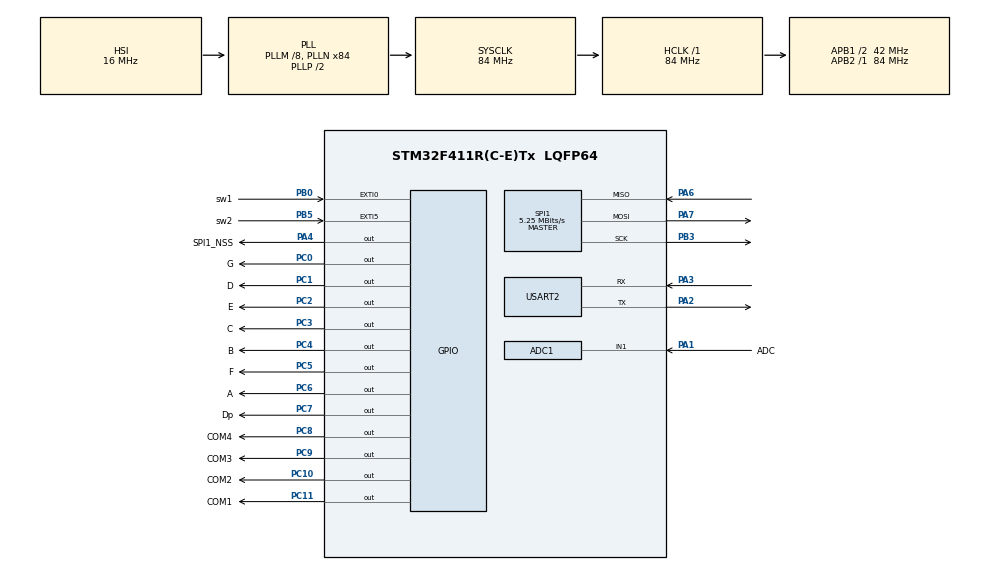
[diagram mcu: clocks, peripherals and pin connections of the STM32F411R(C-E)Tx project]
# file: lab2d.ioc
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ADC1.Channel-1\#ChannelRegularConversion=ADC_CHANNEL_1
ADC1.Channel-2\#ChannelRegularConversion=ADC_CHANNEL_TEMPSENSOR
ADC1.ClockPrescaler=ADC_CLOCK_SYNC_PCLK_DIV8
ADC1.ContinuousConvMode=DISABLE
ADC1.DMAContinuousRequests=ENABLE
ADC1.EOCSelection=ADC_EOC_SEQ_CONV
ADC1.ExternalTrigConv=ADC_EXTERNALTRIGCONV_T2_TRGO
ADC1.NbrOfConversion=2
ADC1.NbrOfConversionFlag=1
ADC1.Rank-1\#ChannelRegularConversion=1
ADC1.Rank-2\#ChannelRegularConversion=2
ADC1.SamplingTime-1\#ChannelRegularConversion=ADC_SAMPLETIME_480CYCLES
ADC1.SamplingTime-2\#ChannelRegularConversion=ADC_SAMPLETIME_480CYCLES
ADC1.master=1
Dma.ADC1.2.Direction=DMA_PERIPH_TO_MEMORY
Dma.ADC1.2.FIFOMode=DMA_FIFOMODE_DISABLE
Dma.ADC1.2.Instance=DMA2_Stream0
Dma.ADC1.2.MemDataAlignment=DMA_MDATAALIGN_HALFWORD
Dma.ADC1.2.MemInc=DMA_MINC_ENABLE
Dma.ADC1.2.Mode=DMA_CIRCULAR
Dma.ADC1.2.PeriphDataAlignment=DMA_PDATAALIGN_HALFWORD
Dma.ADC1.2.PeriphInc=DMA_PINC_DISABLE
Dma.ADC1.2.Priority=DMA_PRIORITY_LOW
Dma.Request0=USART2_TX
Dma.Request1=USART2_RX
Dma.Request2=ADC1
Dma.USART2_RX.1.Direction=DMA_PERIPH_TO_MEMORY
Dma.USART2_RX.1.FIFOMode=DMA_FIFOMODE_DISABLE
Dma.USART2_RX.1.Instance=DMA1_Stream5
Dma.USART2_RX.1.MemDataAlignment=DMA_MDATAALIGN_BYTE
Dma.USART2_RX.1.MemInc=DMA_MINC_ENABLE
Dma.USART2_RX.1.Mode=DMA_NORMAL
Dma.USART2_RX.1.PeriphDataAlignment=DMA_PDATAALIGN_BYTE
Dma.USART2_RX.1.PeriphInc=DMA_PINC_DISABLE
Dma.USART2_RX.1.Priority=DMA_PRIORITY_LOW
Dma.USART2_TX.0.Direction=DMA_MEMORY_TO_PERIPH
Dma.USART2_TX.0.FIFOMode=DMA_FIFOMODE_DISABLE
Dma.USART2_TX.0.Instance=DMA1_Stream6
Dma.USART2_TX.0.MemDataAlignment=DMA_MDATAALIGN_BYTE
Dma.USART2_TX.0.MemInc=DMA_MINC_ENABLE
Dma.USART2_TX.0.Mode=DMA_NORMAL
Dma.USART2_TX.0.PeriphDataAlignment=DMA_PDATAALIGN_BYTE
Dma.USART2_TX.0.PeriphInc=DMA_PINC_DISABLE
Dma.USART2_TX.0.Priority=DMA_PRIORITY_LOW
Mcu.Family=STM32F4
Mcu.Name=STM32F411R(C-E)Tx
Mcu.Package=LQFP64
NVIC.DMA1_Stream5_IRQn=true\:0\:0\:false\:false\:true\:false\:true\:true
NVIC.DMA1_Stream6_IRQn=true\:0\:0\:false\:false\:true\:false\:true\:true
NVIC.DMA2_Stream0_IRQn=true\:0\:0\:false\:false\:true\:false\:true\:true
NVIC.EXTI0_IRQn=true\:5\:0\:true\:false\:true\:true\:true\:true
NVIC.EXTI9_5_IRQn=true\:0\:0\:false\:false\:true\:true\:true\:true
NVIC.PriorityGroup=NVIC_PRIORITYGROUP_4
NVIC.TIM1_TRG_COM_TIM11_IRQn=true\:0\:0\:false\:false\:true\:true\:true\:true
NVIC.USART2_IRQn=true\:0\:0\:false\:false\:true\:true\:true\:true
PA1.GPIO_Label=ADC
PA1.Signal=ADCx_IN1
PA2.Mode=Asynchronous
PA2.Signal=USART2_TX
PA3.Mode=Asynchronous
PA3.Signal=USART2_RX
PA4.GPIO_Label=SPI1_NSS
PA4.Signal=GPIO_Output
PA6.Mode=Full_Duplex_Master
PA6.Signal=SPI1_MISO
PA7.Mode=Full_Duplex_Master
PA7.Signal=SPI1_MOSI
PB0.GPIO_Label=sw1
PB0.GPIO_ModeDefaultEXTI=GPIO_MODE_IT_FALLING
PB0.GPIO_PuPd=GPIO_PULLUP
PB0.Signal=GPXTI0
PB3.Mode=Full_Duplex_Master
PB3.Signal=SPI1_SCK
PB5.GPIO_Label=sw2
PB5.GPIO_ModeDefaultEXTI=GPIO_MODE_IT_FALLING
PB5.GPIO_PuPd=GPIO_PULLUP
PB5.Signal=GPXTI5
PC0.GPIO_Label=G
PC0.Signal=GPIO_Output
PC1.GPIO_Label=D
PC1.Signal=GPIO_Output
PC10.GPIO_Label=COM2
PC10.Signal=GPIO_Output
PC11.GPIO_Label=COM1
PC11.Signal=GPIO_Output
PC2.GPIO_Label=E
PC2.Signal=GPIO_Output
PC3.GPIO_Label=C
PC3.Signal=GPIO_Output
PC4.GPIO_Label=B
PC4.Signal=GPIO_Output
PC5.GPIO_Label=F
PC5.Signal=GPIO_Output
PC6.GPIO_Label=A
PC6.Signal=GPIO_Output
PC7.GPIO_Label=Dp
PC7.Signal=GPIO_Output
PC8.GPIO_Label=COM4
PC8.Signal=GPIO_Output
PC9.GPIO_Label=COM3
PC9.Signal=GPIO_Output
ProjectManager.HeapSize=0x200
ProjectManager.StackSize=0x400
ProjectManager.TargetToolchain=STM32CubeIDE
RCC.48MHZClocksFreq_Value=42000000
RCC.AHBFreq_Value=84000000
RCC.APB1CLKDivider=RCC_HCLK_DIV2
RCC.APB1Freq_Value=42000000
RCC.APB1TimFreq_Value=84000000
RCC.APB2Freq_Value=84000000
RCC.APB2TimFreq_Value=84000000
RCC.CortexFreq_Value=84000000
RCC.HCLKFreq_Value=84000000
RCC.HSE_VALUE=25000000
RCC.HSI_VALUE=16000000
RCC.LSE_VALUE=32768
RCC.PLLM=8
RCC.PLLN=84
RCC.SYSCLKFreq_VALUE=84000000
RCC.SYSCLKSource=RCC_SYSCLKSOURCE_PLLCLK
RCC.VCOOutputFreq_Value=168000000
SH.ADCx_IN1.0=ADC1_IN1,IN1
SPI1.BaudRatePrescaler=SPI_BAUDRATEPRESCALER_16
SPI1.CLKPhase=SPI_PHASE_2EDGE
SPI1.CLKPolarity=SPI_POLARITY_HIGH
SPI1.CalculateBaudRate=5.25 MBits/s
SPI1.Direction=SPI_DIRECTION_2LINES
SPI1.Mode=SPI_MODE_MASTER
SPI1.VirtualType=VM_MASTER
TIM11.Period=499
TIM11.Prescaler=400
TIM2.Period=999
TIM2.Prescaler=8399
TIM2.TIM_MasterOutputTrigger=TIM_TRGO_UPDATE
USART2.VirtualMode=VM_ASYNC
VP_ADC1_TempSens_Input.Mode=IN-TempSens
VP_TIM11_VS_ClockSourceINT.Mode=Enable_Timer
VP_TIM2_VS_ClockSourceINT.Mode=Internal
board=custom

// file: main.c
/* USER CODE BEGIN Header */
/**
  ******************************************************************************
  * @file           : main.c
  * @brief          : Main program body
  ******************************************************************************
  * @attention
  *
  * Copyright (c) 2024 STMicroelectronics.
  * All rights reserved.
  *
  * This software is licensed under terms that can be found in the LICENSE file
  * in the root directory of this software component.
  * If no LICENSE file comes with this software, it is provided AS-IS.
  *
  ******************************************************************************
  */
/* USER CODE END Header */
#include "main.h"

/* USER CODE BEGIN Includes */
#include <stdio.h>
#define buff_length 100
/* USER CODE END Includes */

/* USER CODE BEGIN PTD */
int liczba=0;
static uint8_t licznik_przerwan=0;
uint8_t tysiac, setka, dziesiatka, jednostka;
uint32_t current_time, last_but_press_time;
const int stala_FFFF = 0xFFFFFFFF;
int suma;
volatile uint16_t cnt, buf_cnt, ADC_flag_Ready;
volatile uint16_t buf_filtra[1050];
volatile uint8_t buf_tx[100];
volatile uint8_t buf_rx[100];
volatile uint16_t Mems[3];

volatile uint16_t ADCValue[3];

//volatile uint8_t TxBuff[buff_length] = {48, 49, 50, 97};
volatile uint8_t TxBuff[buff_length];

/* USER CODE END PTD */

ADC_HandleTypeDef hadc1;
DMA_HandleTypeDef hdma_adc1;

SPI_HandleTypeDef hspi1;

TIM_HandleTypeDef htim2;
TIM_HandleTypeDef htim11;

UART_HandleTypeDef huart2;
DMA_HandleTypeDef hdma_usart2_tx;
DMA_HandleTypeDef hdma_usart2_rx;

void SystemClock_Config(void);
static void MX_GPIO_Init(void);
static void MX_DMA_Init(void);
static void MX_TIM11_Init(void);
static void MX_USART2_UART_Init(void);
static void MX_ADC1_Init(void);
static void MX_TIM2_Init(void);
static void MX_SPI1_Init(void);
/* USER CODE BEGIN PFP */

void przelicz(uint16_t liczba)
{
	if (liczba < 10 && 0<liczba)
	      {jednostka=liczba;
	      }
	      else if (9 <liczba &&liczba < 100)
	      {
	          dziesiatka = liczba / 10;
	          jednostka = liczba % 10;

	      }
	      else if (99<liczba && liczba < 1000)
	      {
	          // Extract hundreds, tens, and units
	          setka = liczba / 100;
	          dziesiatka = (liczba / 10) % 10;
	          jednostka = liczba % 10;

	      }
	      else if(999< liczba && liczba < 9999)
	      {
	          // Extract thousands, hundreds, tens, and units
	          tysiac = liczba / 1000;
	          setka = (liczba / 100) % 10;
	          dziesiatka = (liczba / 10) % 10;
	          jednostka = liczba % 10;

	      }

}
void wypisz_liczbe(uint8_t cyfra)
{
      HAL_GPIO_WritePin(GPIOC, A_Pin | B_Pin | C_Pin | D_Pin | E_Pin | F_Pin | G_Pin | Dp_Pin, GPIO_PIN_RESET);

      switch (cyfra)
      {
          case 0:
              HAL_GPIO_WritePin(GPIOC, A_Pin | B_Pin | C_Pin | D_Pin | E_Pin | F_Pin, GPIO_PIN_SET);
              break;
          case 1:
              HAL_GPIO_WritePin(GPIOC, B_Pin | C_Pin, GPIO_PIN_SET);
              break;
          case 2:
              HAL_GPIO_WritePin(GPIOC, A_Pin | B_Pin | D_Pin | E_Pin | G_Pin, GPIO_PIN_SET);
              break;
          case 3:
              HAL_GPIO_WritePin(GPIOC, A_Pin | B_Pin | C_Pin | D_Pin | G_Pin, GPIO_PIN_SET);
              break;
          case 4:
              HAL_GPIO_WritePin(GPIOC, B_Pin | C_Pin | F_Pin | G_Pin, GPIO_PIN_SET);
              break;
          case 5:
              HAL_GPIO_WritePin(GPIOC, A_Pin | C_Pin | D_Pin | F_Pin | G_Pin, GPIO_PIN_SET);
              break;
          case 6:
              HAL_GPIO_WritePin(GPIOC, A_Pin | C_Pin | D_Pin | E_Pin | F_Pin | G_Pin, GPIO_PIN_SET);
              break;
          case 7:
              HAL_GPIO_WritePin(GPIOC, A_Pin | B_Pin | C_Pin, GPIO_PIN_SET);
              break;
          case 8:
              HAL_GPIO_WritePin(GPIOC, A_Pin | B_Pin | C_Pin | D_Pin | E_Pin | F_Pin | G_Pin, GPIO_PIN_SET);
              break;
          case 9:
              HAL_GPIO_WritePin(GPIOC, A_Pin | B_Pin | C_Pin | D_Pin | F_Pin | G_Pin, GPIO_PIN_SET);
              break;
          default:
              HAL_GPIO_WritePin(GPIOC, A_Pin | B_Pin | C_Pin | D_Pin | E_Pin | F_Pin | G_Pin | Dp_Pin, GPIO_PIN_RESET);
              break;
      }
  }

void wyb_com(uint8_t com)
  {
      HAL_GPIO_WritePin(GPIOC, COM1_Pin | COM2_Pin | COM3_Pin | COM4_Pin, GPIO_PIN_SET);

      switch (com)
      {
          case 3:
              HAL_GPIO_WritePin(GPIOC, COM1_Pin, GPIO_PIN_RESET);
              break;
          case 2:
              HAL_GPIO_WritePin(GPIOC, COM2_Pin, GPIO_PIN_RESET);
              break;
          case 1:
              HAL_GPIO_WritePin(GPIOC, COM3_Pin, GPIO_PIN_RESET);
              break;
          case 0:
              HAL_GPIO_WritePin(GPIOC, COM4_Pin, GPIO_PIN_RESET);
              break;
          default:
              return;
      }

  }

void HAL_TIM_PeriodElapsedCallback(TIM_HandleTypeDef *htim){
	if (htim->Instance == TIM11){
		if (licznik_przerwan>3)
		{
			licznik_przerwan=0;
		}

		if(licznik_przerwan==0)
				{
			wyb_com(0);
				wypisz_liczbe(jednostka);

				}
		else if(licznik_przerwan==1)
				{
			wyb_com(1);
				wypisz_liczbe(dziesiatka);

				}
		else if(licznik_przerwan==2)
				{
			wyb_com(2);
				wypisz_liczbe(setka);

				}
		else if(licznik_przerwan==3){
			wyb_com(3);
			wypisz_liczbe(tysiac);}
		licznik_przerwan=licznik_przerwan+1;

	}
}
void HAL_GPIO_EXTI_Callback(uint16_t GPIO_Pin)
{
//staticHAL_ADC_ConvCpltCallback
	if(GPIO_Pin == sw1_Pin)
	{
        current_time=HAL_GetTick();

        	if((current_time- last_but_press_time)>200 && (stala_FFFF -1)- current_time + last_but_press_time>500)
        	{
        		   liczba++;
        		   przelicz(liczba);
        	last_but_press_time=current_time;
		   }

       }

	if(GPIO_Pin == sw2_Pin)
		{
	        current_time=HAL_GetTick();
	        	if((current_time- last_but_press_time)>200 && (stala_FFFF -1)- current_time + last_but_press_time>500)
	        	{
	        		   liczba--;
	        		   przelicz(liczba);
	        	last_but_press_time=current_time;
			   }
	       }
}

//
//HAL_UART_RxCpltCallback(UART_HandleTypeDef *huart)
//{
//
//	//
// HAL_UART_Receive_IT(huart, (uint8_t*)buf_rx, 1);
// if (buf_rx[0]>96 && buf_rx[0]<123)
//		 {
//	 buf_cnt = snprintf((char*)buf_tx,sizeof(buf_tx) ,"Napis nr= %d, ASCII=%d, litera=%c \n", cnt, buf_rx[0], (char)buf_rx[0]);
//		 }
// else
// {
//	 buf_cnt = snprintf((char*)buf_tx,sizeof(buf_tx) ,"Podales liczbe, pod ktora nie kryje sie mala litera, %d\n", buf_rx[0]);
//
// }
// HAL_UART_Transmit_IT(&huart2, (uint8_t*)buf_tx, buf_cnt);
// HAL_UART_Receive_IT(huart, (uint8_t*)buf_rx, 1);
//
//}
void HAL_ADC_ConvCpltCallback(ADC_HandleTypeDef* hadc){

	ADC_flag_Ready=1;

//	if(HAL_ADC_PollForConversion(&hadc1, 10)==HAL_OK)
//	{
//		if(hadc==&hadc1)
//		{
//
//			if(buf_cnt==1023)
//			{
//				przelicz(suma>>10);
//				suma=0;buf_cnt=0;
//			}
//		suma+=HAL_ADC_GetValue(&hadc1);
//
//		buf_cnt++;
//		}}

}

/* USER CODE END PFP */

int main(void)
{

  /* MCU Configuration--------------------------------------------------------*/

  /* Reset of all peripherals, Initializes the Flash interface and the Systick. */
  HAL_Init();

  /* Configure the system clock */
  SystemClock_Config();

  /* Initialize all configured peripherals */
  MX_GPIO_Init();
  MX_DMA_Init();
  MX_TIM11_Init();
  MX_USART2_UART_Init();
  MX_ADC1_Init();
  MX_TIM2_Init();
  MX_SPI1_Init();
  /* USER CODE BEGIN 2 */
HAL_TIM_Base_Start_IT(&htim11);

  /* USER CODE END 2 */

  /* Infinite loop */
  /* USER CODE BEGIN WHILE */

//buf_cnt = sprintf((char*) buf_tx, "Napis nr= %d\n", cnt);
//HAL_UART_Transmit_IT(&huart2, (uint8_t*)buf_tx, buf_cnt);

//HAL_UART_Receive_IT(&huart2, (uint8_t*)buf_rx, 1);
//HAL_ADC_Start_IT(&hadc1);
//	ADCValue=HAL_ADC_GetValue(&hadc1);
//
//HAL_TIM_Base_Start(&htim2);
//HAL_ADC_Start_DMA(&hadc1, (uint32_t*)ADCValue, 2);
HAL_TIM_Base_Start(&htim2);
HAL_ADC_Start_DMA(&hadc1, (uint32_t*)ADCValue, 3);

uint8_t MEMSTxBuf[2];
  uint8_t MEMSRxBuf[2];

  MEMSTxBuf[0] = 0x00 | 0x20;
  MEMSTxBuf[1] = 0x47;

  HAL_GPIO_WritePin(SPI1_NSS_GPIO_Port, SPI1_NSS_Pin, GPIO_PIN_RESET);
  HAL_SPI_Transmit(&hspi1, MEMSTxBuf, 2, 10);
  HAL_GPIO_WritePin(SPI1_NSS_GPIO_Port, SPI1_NSS_Pin, GPIO_PIN_SET);

//stat_var & 0x08) != 0
  while (1)
  {
	  uint8_t status;

			MEMSRxBuf[0] = 0x80 | 0x27;
			MEMSRxBuf[1] = 0x29;
			HAL_GPIO_WritePin(SPI1_NSS_GPIO_Port, SPI1_NSS_Pin, GPIO_PIN_RESET);
			HAL_SPI_Receive(&hspi1, MEMSRxBuf, 2, 10);
			HAL_GPIO_WritePin(SPI1_NSS_GPIO_Port, SPI1_NSS_Pin, GPIO_PIN_SET);
			status = MEMSRxBuf[1];

			if (status & 0x08 != 0)
			{
				MEMSRxBuf[0] = 0x80 | 0x29;
				MEMSRxBuf[1] = 0x29;

				HAL_GPIO_WritePin(SPI1_NSS_GPIO_Port, SPI1_NSS_Pin, GPIO_PIN_RESET);
				HAL_SPI_Receive(&hspi1, MEMSRxBuf, 2, 10);
				HAL_GPIO_WritePin(SPI1_NSS_GPIO_Port, SPI1_NSS_Pin, GPIO_PIN_SET);
				Mems[0] = MEMSRxBuf[1];

				MEMSRxBuf[0] = 0x80 | 0x2B;
				MEMSRxBuf[1] = 0x29;

				HAL_GPIO_WritePin(SPI1_NSS_GPIO_Port, SPI1_NSS_Pin, GPIO_PIN_RESET);
				HAL_SPI_Receive(&hspi1, MEMSRxBuf, 2, 10);
				HAL_GPIO_WritePin(SPI1_NSS_GPIO_Port, SPI1_NSS_Pin, GPIO_PIN_SET);
				Mems[1] = MEMSRxBuf[1];

				MEMSRxBuf[0] = 0x80 | 0x2D;
				MEMSRxBuf[1] = 0x29;

				HAL_GPIO_WritePin(SPI1_NSS_GPIO_Port, SPI1_NSS_Pin, GPIO_PIN_RESET);
				HAL_SPI_Receive(&hspi1, MEMSRxBuf, 2, 10);
				HAL_GPIO_WritePin(SPI1_NSS_GPIO_Port, SPI1_NSS_Pin, GPIO_PIN_SET);
				Mems[2] = MEMSRxBuf[1];

			    uint16_t TxSize = snprintf(buf_tx, sizeof(buf_tx), "X: %d, Y: %d, Z: %d\n", Mems[0], Mems[1], Mems[2]);
			    HAL_UART_Transmit_DMA(&huart2, buf_tx, TxSize);
		  			    HAL_Delay(100);

			}

    /* USER CODE END WHILE */

  }
}

void SystemClock_Config(void)
{
  RCC_OscInitTypeDef RCC_OscInitStruct = {0};
  RCC_ClkInitTypeDef RCC_ClkInitStruct = {0};

  /** Configure the main internal regulator output voltage
  */
  __HAL_RCC_PWR_CLK_ENABLE();
  __HAL_PWR_VOLTAGESCALING_CONFIG(PWR_REGULATOR_VOLTAGE_SCALE1);

  /** Initializes the RCC Oscillators according to the specified parameters
  * in the RCC_OscInitTypeDef structure.
  */
  RCC_OscInitStruct.OscillatorType = RCC_OSCILLATORTYPE_HSI;
  RCC_OscInitStruct.HSIState = RCC_HSI_ON;
  RCC_OscInitStruct.HSICalibrationValue = RCC_HSICALIBRATION_DEFAULT;
  RCC_OscInitStruct.PLL.PLLState = RCC_PLL_ON;
  RCC_OscInitStruct.PLL.PLLSource = RCC_PLLSOURCE_HSI;
  RCC_OscInitStruct.PLL.PLLM = 8;
  RCC_OscInitStruct.PLL.PLLN = 84;
  RCC_OscInitStruct.PLL.PLLP = RCC_PLLP_DIV2;
  RCC_OscInitStruct.PLL.PLLQ = 4;
  if (HAL_RCC_OscConfig(&RCC_OscInitStruct) != HAL_OK)
  {
    Error_Handler();
  }

  /** Initializes the CPU, AHB and APB buses clocks
  */
  RCC_ClkInitStruct.ClockType = RCC_CLOCKTYPE_HCLK|RCC_CLOCKTYPE_SYSCLK
                              |RCC_CLOCKTYPE_PCLK1|RCC_CLOCKTYPE_PCLK2;
  RCC_ClkInitStruct.SYSCLKSource = RCC_SYSCLKSOURCE_PLLCLK;
  RCC_ClkInitStruct.AHBCLKDivider = RCC_SYSCLK_DIV1;
  RCC_ClkInitStruct.APB1CLKDivider = RCC_HCLK_DIV2;
  RCC_ClkInitStruct.APB2CLKDivider = RCC_HCLK_DIV1;

  if (HAL_RCC_ClockConfig(&RCC_ClkInitStruct, FLASH_LATENCY_2) != HAL_OK)
  {
    Error_Handler();
  }
}

static void MX_ADC1_Init(void)
{

  ADC_ChannelConfTypeDef sConfig = {0};

  /** Configure the global features of the ADC (Clock, Resolution, Data Alignment and number of conversion)
  */
  hadc1.Instance = ADC1;
  hadc1.Init.ClockPrescaler = ADC_CLOCK_SYNC_PCLK_DIV8;
  hadc1.Init.Resolution = ADC_RESOLUTION_12B;
  hadc1.Init.ScanConvMode = ENABLE;
  hadc1.Init.ContinuousConvMode = DISABLE;
  hadc1.Init.DiscontinuousConvMode = DISABLE;
  hadc1.Init.ExternalTrigConvEdge = ADC_EXTERNALTRIGCONVEDGE_RISING;
  hadc1.Init.ExternalTrigConv = ADC_EXTERNALTRIGCONV_T2_TRGO;
  hadc1.Init.DataAlign = ADC_DATAALIGN_RIGHT;
  hadc1.Init.NbrOfConversion = 2;
  hadc1.Init.DMAContinuousRequests = ENABLE;
  hadc1.Init.EOCSelection = ADC_EOC_SEQ_CONV;
  if (HAL_ADC_Init(&hadc1) != HAL_OK)
  {
    Error_Handler();
  }

  /** Configure for the selected ADC regular channel its corresponding rank in the sequencer and its sample time.
  */
  sConfig.Channel = ADC_CHANNEL_1;
  sConfig.Rank = 1;
  sConfig.SamplingTime = ADC_SAMPLETIME_480CYCLES;
  if (HAL_ADC_ConfigChannel(&hadc1, &sConfig) != HAL_OK)
  {
    Error_Handler();
  }

  /** Configure for the selected ADC regular channel its corresponding rank in the sequencer and its sample time.
  */
  sConfig.Channel = ADC_CHANNEL_TEMPSENSOR;
  sConfig.Rank = 2;
  if (HAL_ADC_ConfigChannel(&hadc1, &sConfig) != HAL_OK)
  {
    Error_Handler();
  }

}

static void MX_SPI1_Init(void)
{

  /* SPI1 parameter configuration*/
  hspi1.Instance = SPI1;
  hspi1.Init.Mode = SPI_MODE_MASTER;
  hspi1.Init.Direction = SPI_DIRECTION_2LINES;
  hspi1.Init.DataSize = SPI_DATASIZE_8BIT;
  hspi1.Init.CLKPolarity = SPI_POLARITY_HIGH;
  hspi1.Init.CLKPhase = SPI_PHASE_2EDGE;
  hspi1.Init.NSS = SPI_NSS_SOFT;
  hspi1.Init.BaudRatePrescaler = SPI_BAUDRATEPRESCALER_16;
  hspi1.Init.FirstBit = SPI_FIRSTBIT_MSB;
  hspi1.Init.TIMode = SPI_TIMODE_DISABLE;
  hspi1.Init.CRCCalculation = SPI_CRCCALCULATION_DISABLE;
  hspi1.Init.CRCPolynomial = 10;
  if (HAL_SPI_Init(&hspi1) != HAL_OK)
  {
    Error_Handler();
  }

}

static void MX_TIM2_Init(void)
{

  TIM_ClockConfigTypeDef sClockSourceConfig = {0};
  TIM_MasterConfigTypeDef sMasterConfig = {0};

  htim2.Instance = TIM2;
  htim2.Init.Prescaler = 8399;
  htim2.Init.CounterMode = TIM_COUNTERMODE_UP;
  htim2.Init.Period = 999;
  htim2.Init.ClockDivision = TIM_CLOCKDIVISION_DIV1;
  htim2.Init.AutoReloadPreload = TIM_AUTORELOAD_PRELOAD_DISABLE;
  if (HAL_TIM_Base_Init(&htim2) != HAL_OK)
  {
    Error_Handler();
  }
  sClockSourceConfig.ClockSource = TIM_CLOCKSOURCE_INTERNAL;
  if (HAL_TIM_ConfigClockSource(&htim2, &sClockSourceConfig) != HAL_OK)
  {
    Error_Handler();
  }
  sMasterConfig.MasterOutputTrigger = TIM_TRGO_UPDATE;
  sMasterConfig.MasterSlaveMode = TIM_MASTERSLAVEMODE_DISABLE;
  if (HAL_TIMEx_MasterConfigSynchronization(&htim2, &sMasterConfig) != HAL_OK)
  {
    Error_Handler();
  }

}

static void MX_TIM11_Init(void)
{

  htim11.Instance = TIM11;
  htim11.Init.Prescaler = 400;
  htim11.Init.CounterMode = TIM_COUNTERMODE_UP;
  htim11.Init.Period = 499;
  htim11.Init.ClockDivision = TIM_CLOCKDIVISION_DIV1;
  htim11.Init.AutoReloadPreload = TIM_AUTORELOAD_PRELOAD_DISABLE;
  if (HAL_TIM_Base_Init(&htim11) != HAL_OK)
  {
    Error_Handler();
  }

}

static void MX_USART2_UART_Init(void)
{

  huart2.Instance = USART2;
  huart2.Init.BaudRate = 115200;
  huart2.Init.WordLength = UART_WORDLENGTH_8B;
  huart2.Init.StopBits = UART_STOPBITS_1;
  huart2.Init.Parity = UART_PARITY_NONE;
  huart2.Init.Mode = UART_MODE_TX_RX;
  huart2.Init.HwFlowCtl = UART_HWCONTROL_NONE;
  huart2.Init.OverSampling = UART_OVERSAMPLING_16;
  if (HAL_UART_Init(&huart2) != HAL_OK)
  {
    Error_Handler();
  }

}

static void MX_DMA_Init(void)
{

  /* DMA controller clock enable */
  __HAL_RCC_DMA1_CLK_ENABLE();
  __HAL_RCC_DMA2_CLK_ENABLE();

  /* DMA interrupt init */
  /* DMA1_Stream5_IRQn interrupt configuration */
  HAL_NVIC_SetPriority(DMA1_Stream5_IRQn, 0, 0);
  HAL_NVIC_EnableIRQ(DMA1_Stream5_IRQn);
  /* DMA1_Stream6_IRQn interrupt configuration */
  HAL_NVIC_SetPriority(DMA1_Stream6_IRQn, 0, 0);
  HAL_NVIC_EnableIRQ(DMA1_Stream6_IRQn);
  /* DMA2_Stream0_IRQn interrupt configuration */
  HAL_NVIC_SetPriority(DMA2_Stream0_IRQn, 0, 0);
  HAL_NVIC_EnableIRQ(DMA2_Stream0_IRQn);

}

static void MX_GPIO_Init(void)
{
  GPIO_InitTypeDef GPIO_InitStruct = {0};

  /* GPIO Ports Clock Enable */
  __HAL_RCC_GPIOC_CLK_ENABLE();
  __HAL_RCC_GPIOA_CLK_ENABLE();
  __HAL_RCC_GPIOB_CLK_ENABLE();

  /*Configure GPIO pin Output Level */
  HAL_GPIO_WritePin(GPIOC, G_Pin|D_Pin|E_Pin|C_Pin
                          |B_Pin|F_Pin|A_Pin|Dp_Pin
                          |COM4_Pin|COM3_Pin|COM2_Pin|COM1_Pin, GPIO_PIN_RESET);

  /*Configure GPIO pin Output Level */
  HAL_GPIO_WritePin(SPI1_NSS_GPIO_Port, SPI1_NSS_Pin, GPIO_PIN_RESET);

  /*Configure GPIO pins : G_Pin D_Pin E_Pin C_Pin
                           B_Pin F_Pin A_Pin Dp_Pin
                           COM4_Pin COM3_Pin COM2_Pin COM1_Pin */
  GPIO_InitStruct.Pin = G_Pin|D_Pin|E_Pin|C_Pin
                          |B_Pin|F_Pin|A_Pin|Dp_Pin
                          |COM4_Pin|COM3_Pin|COM2_Pin|COM1_Pin;
  GPIO_InitStruct.Mode = GPIO_MODE_OUTPUT_PP;
  GPIO_InitStruct.Pull = GPIO_NOPULL;
  GPIO_InitStruct.Speed = GPIO_SPEED_FREQ_LOW;
  HAL_GPIO_Init(GPIOC, &GPIO_InitStruct);

  /*Configure GPIO pin : SPI1_NSS_Pin */
  GPIO_InitStruct.Pin = SPI1_NSS_Pin;
  GPIO_InitStruct.Mode = GPIO_MODE_OUTPUT_PP;
  GPIO_InitStruct.Pull = GPIO_NOPULL;
  GPIO_InitStruct.Speed = GPIO_SPEED_FREQ_LOW;
  HAL_GPIO_Init(SPI1_NSS_GPIO_Port, &GPIO_InitStruct);

  /*Configure GPIO pins : sw1_Pin sw2_Pin */
  GPIO_InitStruct.Pin = sw1_Pin|sw2_Pin;
  GPIO_InitStruct.Mode = GPIO_MODE_IT_FALLING;
  GPIO_InitStruct.Pull = GPIO_PULLUP;
  HAL_GPIO_Init(GPIOB, &GPIO_InitStruct);

  /* EXTI interrupt init*/
  HAL_NVIC_SetPriority(EXTI0_IRQn, 5, 0);
  HAL_NVIC_EnableIRQ(EXTI0_IRQn);

  HAL_NVIC_SetPriority(EXTI9_5_IRQn, 0, 0);
  HAL_NVIC_EnableIRQ(EXTI9_5_IRQn);

}

void Error_Handler(void)
{
  __disable_irq();
  while (1)
  {
  }
}
